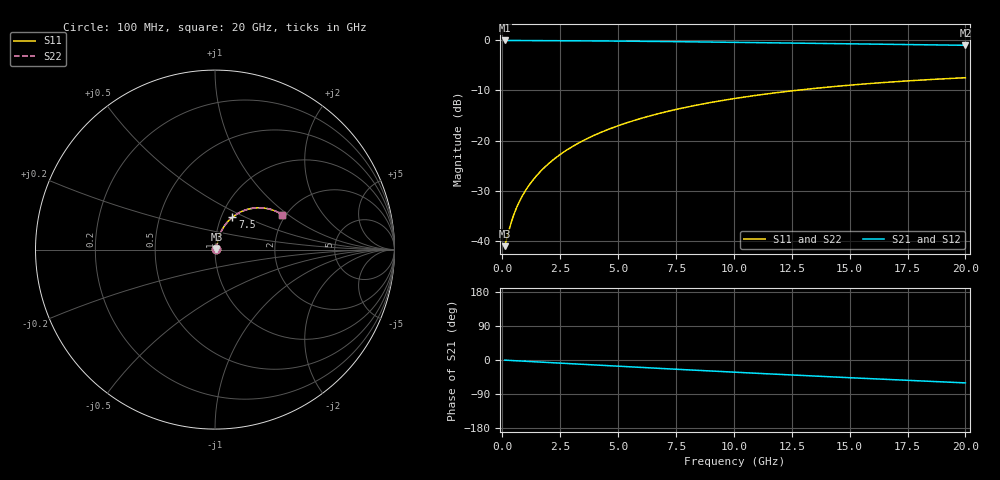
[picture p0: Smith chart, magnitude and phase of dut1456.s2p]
! Touchstone file exported from HFSS 2026.1.0
!  File:  C:/ffzhzh/LocalFiles/Ansys_Project_Files/temp_train_BSMRDL_1456_1783180800_55132.aedt
!  Generated:  12:01:28 AM Jul  5, 2026
!  Design:  BSMRDL
!  Project:  temp_train_BSMRDL_1456_1783180800_55132
! Variables:
!  h_bsmrdl = 2.35um
!  h_ox = 20um
!  h_rdl = 5um
!  h_sub = 80um
!  h_tmrdl = 5um
!  h_tsv = 80um
!  h_via = 3um
!  l_bsmrdl = 992.51um
!  l_sub = 1392.51um
!  l_tmrdl = 200um
!  m_sub = 200um
!  pitch = 33.48um
!  r_tsv = 6um
!  s_tmrdl = 10um
!  w_bsmrdl = 18.24um
!  w_sub = 500um
!  w_tmrdl = 12um
!  x_tsv_center1 = 206um
!  x_tsv_center2 = 1216.75um
!  x_tsv_center3 = 1428.75um
!  x_tsv_center4 = 2439.5um
!  x_tsv_center5 = 2651.5um
!  x_tsv_center6 = 3662.25um
# GHz S MA R 50.000000
! Terminal data exported
! Port[1] = BSM_RDL1_1_T1
! Port[2] = BSM_RDL1_1_T2
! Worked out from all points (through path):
!   200 points, 100 MHz to 20 GHz, reference 50 ohm
!   highest |S21| = -0.07 dB at 100 MHz (marker M1); lowest = -1.0 dB at 20 GHz (marker M2)
!   group delay of S21, straight-line fit = 8.39 ps
!   lowest |S11| = -41.0 dB at 100 MHz (marker M3), VSWR 1.02, Z = 50.8 + j0.335 ohm
!   |S11| at or under -10 dB: start of sweep to 12.69 GHz
!   |S22| runs from -41.0 to -7.5 dB; largest |S21 - S12| = 6.1e-15
!   S11 on the Smith chart (normalised r, x): 100 MHz: 1.02, +0.01; 7.5 GHz: 1.13, +0.42; 20 GHz: 1.92, +0.91
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0.1  0.008933 21.6  0.9917 -0.4  0.9917 -0.4  0.008933 21.6
! Gamma 0 0 0 0
! Port Impedance 50 0 50 0
0.4  0.01575 53.5  0.9908 -1.4  0.9908 -1.4  0.01575 53.5
0.6  0.02112 60.7  0.9902 -2.1  0.9902 -2.1  0.02112 60.7
0.7  0.0238 63.0  0.9899 -2.4  0.9899 -2.4  0.0238 63.0
0.9  0.02917 66.3  0.9893 -3.1  0.9893 -3.1  0.02916 66.3
1.2  0.03724 69.3  0.9887 -4.0  0.9887 -4.0  0.03724 69.3
1.4  0.04267 70.5  0.9883 -4.7  0.9883 -4.7  0.04267 70.5
1.7  0.05086 71.7  0.9877 -5.7  0.9877 -5.7  0.05086 71.7
2.2  0.0646 72.6  0.9866 -7.3  0.9866 -7.3  0.06459 72.6
2.8  0.08112 72.5  0.9852 -9.3  0.9852 -9.3  0.08112 72.5
3.5  0.1003 71.6  0.9831 -11.6  0.9831 -11.6  0.1003 71.6
4.2  0.1193 70.3  0.9807 -13.8  0.9807 -13.8  0.1193 70.3
5  0.1407 68.5  0.9776 -16.4  0.9776 -16.4  0.1407 68.5
5.9  0.1642 66.2  0.9735 -19.3  0.9735 -19.3  0.1642 66.2
6.8  0.187 63.7  0.969 -22.2  0.969 -22.2  0.187 63.7
7.5  0.2043 61.8  0.9652 -24.4  0.9652 -24.4  0.2043 61.8
8.7  0.2328 58.3  0.9582 -28.1  0.9582 -28.1  0.2327 58.4
10.1  0.2641 54.3  0.9494 -32.4  0.9494 -32.4  0.2641 54.4
11.7  0.2972 49.8  0.9389 -37.2  0.9389 -37.2  0.2972 49.8
13.4  0.3292 45.0  0.9276 -42.2  0.9276 -42.2  0.3292 45.0
16.7  0.3819 36.0  0.9064 -51.5  0.9064 -51.5  0.3819 36.0
20  0.4226 27.3  0.8878 -60.4  0.8878 -60.4  0.4225 27.4
